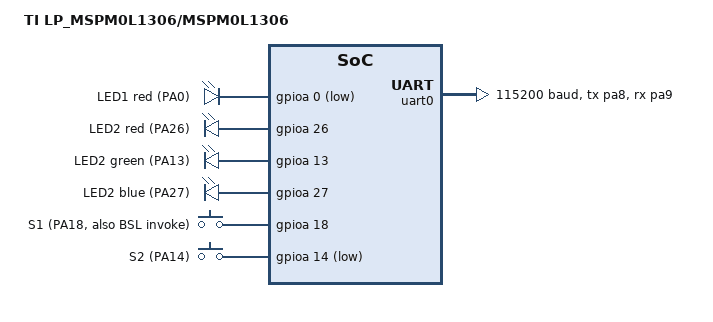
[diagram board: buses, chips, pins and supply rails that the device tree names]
/*
 * Out-of-tree Zephyr board for the LP-MSPM0L1306 LaunchPad development kit.
 * Shape copied from Zephyr 4.4.2 boards/ti/lp_mspm0l2228. Fox Red Labs, 2026-10-06.
 *
 * Pin facts, all from public TI material:
 *   UART0 backchannel: TX PA8 (PINCM9, function 2), RX PA9 (PINCM10, function 2).
 *     Source: MSPM0 SDK 2.11 mspm0l130x.h, IOMUX_PINCM9_PF_UART0_TX and IOMUX_PINCM10_PF_UART0_RX.
 *   LED1 red: PA0, active low. PA0 is a 5 V tolerant open-drain pin. Needs jumper J2 on and the
 *     J10 pull-up jumper (2:3 for 3.3 V). SDK example READMEs for LP_MSPM0L1306.
 *   LED2 RGB, active high: red PA26 (J12), green PA13 (J3), blue PA27 (J13).
 *   S1: PA18, to VCC with an external pull-down (J11 on). Active high.
 *     PA18 is also the bootloader (BSL) invoke pin: holding S1 through a reset starts the
 *     ROM bootloader instead of this program.
 *   S2: PA14, to GND, no external pull resistor. Needs the internal pull-up. Active low.
 *   SWD: PA19 SWDIO, PA20 SWCLK. Left alone.
 *
 * Clock: nothing set here. The l-series dtsi runs MCLK from SYSOSC at 32 MHz and ULPCLK at
 * 32 MHz, which the clock-control driver sets with DL_SYSCTL_setSYSOSCFreq(BASE) only.
 * cpu0 clock-frequency below is a description of that, not a register setting.
 *
 * Nothing in this board writes NONMAIN (BCR or BSL configuration).
 */

/dts-v1/;

#include <ti/mspm0/l/mspm0l1306.dtsi>
#include <zephyr/dt-bindings/pinctrl/mspm0-pinctrl.h>
#include <zephyr/dt-bindings/clock/mspm0_clock.h>
#include <zephyr/dt-bindings/gpio/gpio.h>
#include <zephyr/dt-bindings/input/input-event-codes.h>

/ {
	model = "TI LP_MSPM0L1306/MSPM0L1306";
	compatible = "ti,mspm0l1306";

	aliases {
		led0 = &led0;
		led1 = &led1;
		led2 = &led2;
		led3 = &led3;
		sw0 = &button0;
		sw1 = &button1;
	};

	chosen {
		zephyr,sram = &sram0;
		zephyr,flash = &flash0;
		zephyr,console = &uart0;
		zephyr,shell-uart = &uart0;
	};

	leds {
		compatible = "gpio-leds";

		led0: led_0 {
			gpios = <&gpioa 0 (GPIO_ACTIVE_LOW | GPIO_OPEN_DRAIN)>;
			label = "LED1 red (PA0)";
		};

		led1: led_1 {
			gpios = <&gpioa 26 GPIO_ACTIVE_HIGH>;
			label = "LED2 red (PA26)";
		};

		led2: led_2 {
			gpios = <&gpioa 13 GPIO_ACTIVE_HIGH>;
			label = "LED2 green (PA13)";
		};

		led3: led_3 {
			gpios = <&gpioa 27 GPIO_ACTIVE_HIGH>;
			label = "LED2 blue (PA27)";
		};
	};

	buttons {
		compatible = "gpio-keys";

		button0: button_0 {
			gpios = <&gpioa 18 GPIO_ACTIVE_HIGH>;
			label = "S1 (PA18, also BSL invoke)";
			zephyr,code = <INPUT_KEY_0>;
		};

		button1: button_1 {
			gpios = <&gpioa 14 (GPIO_ACTIVE_LOW | GPIO_PULL_UP)>;
			label = "S2 (PA14)";
			zephyr,code = <INPUT_KEY_1>;
		};
	};
};

&cpu0 {
	clock-frequency = <DT_FREQ_M(32)>;
};

/*
 * hal_ti in Zephyr 4.4.2 ships pinctrl files for MSPM0L110x and MSPM0L222x only, not L130x.
 * These two nodes are written by hand from the SDK header.
 */
&pinctrl {
	status = "okay";

	uart0_tx_pa8: uart0_tx_pa8 {
		pinmux = <MSP_PINMUX(9, MSPM0_PIN_FUNCTION_2)>;
	};

	uart0_rx_pa9: uart0_rx_pa9 {
		pinmux = <MSP_PINMUX(10, MSPM0_PIN_FUNCTION_2)>;
		input-enable;
	};
};

&gpioa {
	status = "okay";
};

&uart0 {
	status = "okay";
	current-speed = <115200>;
	pinctrl-0 = <&uart0_tx_pa8 &uart0_rx_pa9>;
	pinctrl-names = "default";
};
